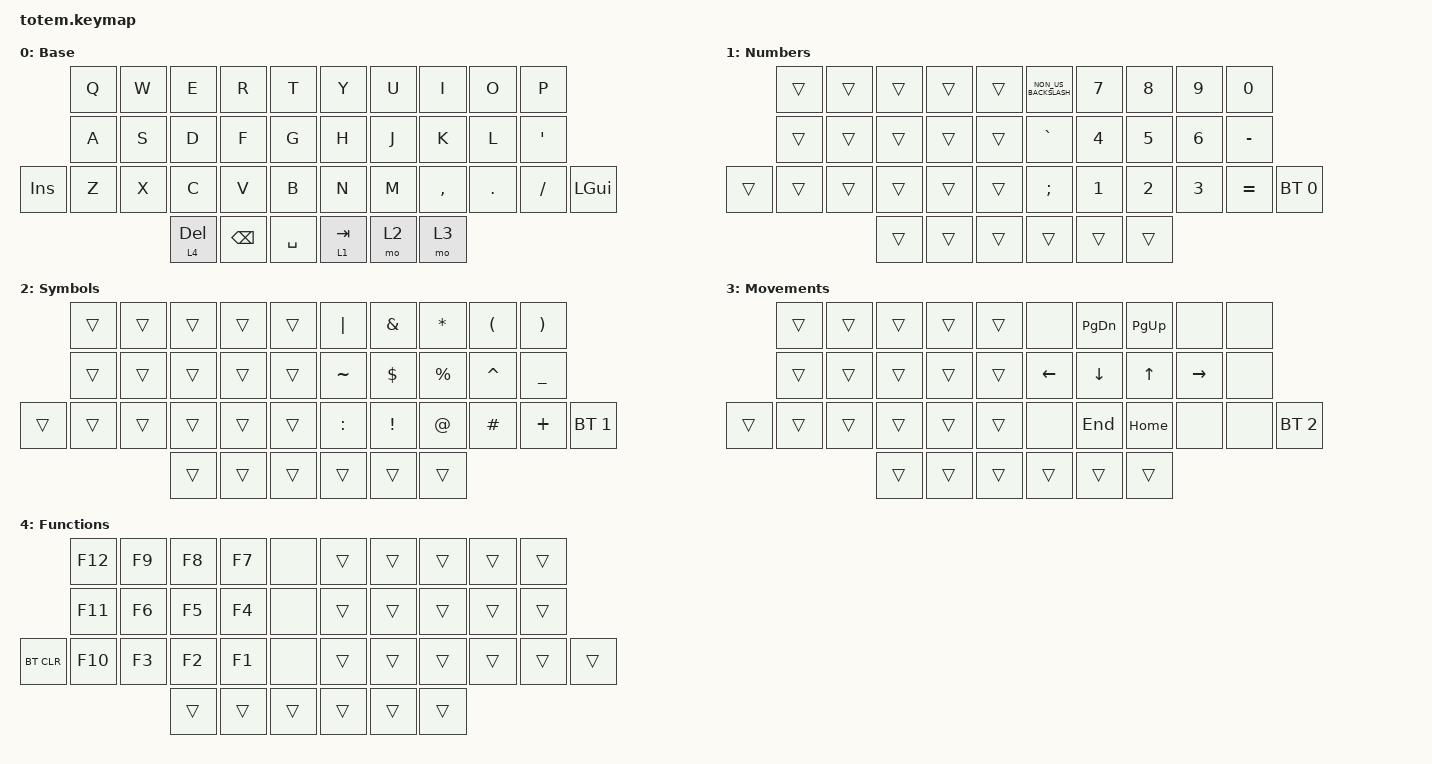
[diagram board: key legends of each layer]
//
//                                                        ▀▀▀▀▀     ▀▀▀▀▀          ▀▀█▀▀
//                                                        ▄▀▀▀▄  ▄  ▄▀▀▀▄  ▄  ▄▀▀▀▄  █  ▄▀▀▀▄
//                                                        █   █  █  █   █  █  █   █  █  █   █
//                                                         ▀▀▀   █   ▀▀▀   █   ▀▀▀   ▀   ▀▀▀
//                                                               █      ▄▄▄█▄▄▄    █   █  
//                                                               ▀      █  █  █     █▄█
//                                                             ▀▀▀▀▀    █  █  █      ▀
//                                                                      ▀  ▀  ▀
//
// ▄▄▄▄▄▄▄▄▄▄▄▄▄▄▄▄▄▄▄▄▄▄▄▄▄▄▄▄▄▄▄▄▄▄▄▄▄▄▄▄▄▄▄▄▄▄▄▄▄▄▄▄▄▄▄▄▄▄▄▄▄▄▄▄▄▄▄▄▄▄▄▄▄▄▄▄▄▄▄▄▄▄▄▄▄▄▄▄▄▄▄▄▄▄▄▄▄▄▄▄▄▄▄▄▄▄▄▄▄▄▄▄▄▄▄▄▄▄▄▄▄▄▄▄▄▄▄▄▄▄▄▄▄▄▄▄▄▄▄▄▄▄▄▄▄▄▄▄▄

#include <behaviors.dtsi>
#include <dt-bindings/zmk/bt.h>
#include <dt-bindings/zmk/keys.h>

#define BASE 0
#define NAV  1
#define SYM  2
#define ADJ  3
#define TVP1 4
#define TVP2 5

/ {
    combos {
        compatible = "zmk,combos";

        left_control {
            bindings = <&kp LEFT_CONTROL>;
            key-positions = <13 12>;
        };

        left_shift {
            bindings = <&kp LEFT_SHIFT>;
            key-positions = <12 11>;
        };

        left_control_shift {
            bindings = <&kp LS(LEFT_CONTROL)>;
            key-positions = <11 12 13>;
        };

        enter {
            bindings = <&kp ENTER>;
            key-positions = <2 3 1>;
        };

        right_control {
            bindings = <&kp LEFT_CONTROL>;
            key-positions = <16 17>;
        };

        right_shift {
            bindings = <&kp LEFT_SHIFT>;
            key-positions = <17 18>;
        };

        right_shift_control {
            bindings = <&kp LS(LEFT_CONTROL)>;
            key-positions = <16 17 18>;
        };

        esc {
            bindings = <&kp ESC>;
            key-positions = <6 7 8>;
        };

        left_bracket {
            bindings = <&kp LEFT_BRACKET>;
            key-positions = <27 28>;
        };

        right_bracket {
            bindings = <&kp RIGHT_BRACKET>;
            key-positions = <28 29>;
        };
    };

    keymap {
        compatible = "zmk,keymap";

        // ▄▄▄▄▄▄▄▄▄▄▄▄▄▄▄▄▄▄▄▄▄▄▄▄▄▄▄▄▄▄▄▄▄▄▄▄▄▄▄▄▄▄▄▄▄▄▄▄▄▄▄▄▄▄▄▄▄▄▄▄▄▄▄▄▄▄▄▄▄▄▄▄▄▄▄▄▄▄▄▄▄▄▄▄▄▄▄▄▄▄▄▄▄▄▄▄▄▄▄▄▄▄▄▄▄▄▄▄▄▄▄▄▄▄▄▄▄▄▄▄▄▄▄▄▄▄▄▄▄▄▄▄▄▄▄▄▄▄▄▄▄▄▄▄▄▄▄▄▄

        base_layer {
            // ┏━━━━━━━━━━━━━━━━━━━━━━━━━━━━━━━━━━━━━━━┓

            label = "Base";

            // ┗━━━━━━━━━━━━━━━━━━━━━━━━━━━━━━━━━━━━━━━┛
            //             ┏━━━━━━━━━━━┳━━━━━━━━━━━┳━━━━━━━━━━━┳━━━━━━━━━━━┳━━━━━━━━━━━┓   ┏━━━━━━━━━━━┳━━━━━━━━━━━┳━━━━━━━━━━━┳━━━━━━━━━━━┳━━━━━━━━━━━┓
            //             ┃     Q     ┃     W     ┃     F     ┃     P     ┃     G     ┃   ┃     J     ┃     L     ┃     U     ┃     Y     ┃     ;     ┃
            //             ┣━━━━━━━━━━━╋━━━━━━━━━━━╋━━━━━━━━━━━╋━━━━━━━━━━━╋━━━━━━━━━━━┫   ┣━━━━━━━━━━━╋━━━━━━━━━━━╋━━━━━━━━━━━╋━━━━━━━━━━━╋━━━━━━━━━━━┫
            //             ┃     A     ┃     R     ┃     S     ┃     T     ┃     D     ┃   ┃     H     ┃     N     ┃     E     ┃     I     ┃     O     ┃
            // ┏━━━━━━━━━━━╋━━━━━━━━━━━╋━━━━━━━━━━━╋━━━━━━━━━━━╋━━━━━━━━━━━╋━━━━━━━━━━━┫   ┣━━━━━━━━━━━╋━━━━━━━━━━━╋━━━━━━━━━━━╋━━━━━━━━━━━╋━━━━━━━━━━━╋━━━━━━━━━━━┓
            // ┃     Q     ┃     Z     ┃     X     ┃     C     ┃     V     ┃     B     ┃   ┃     K     ┃     M     ┃     ,     ┃     .     ┃     /     ┃     \     ┃
            // ┗━━━━━━━━━━━┻━━━━━━━━━━━┻━━━━━━━━━━━╋━━━━━━━━━━━╋━━━━━━━━━━━╋━━━━━━━━━━━┫   ┣━━━━━━━━━━━╋━━━━━━━━━━━╋━━━━━━━━━━━╋━━━━━━━━━━━┻━━━━━━━━━━━┻━━━━━━━━━━━┛
            //                                     ┃    DEL    ┃    TAB    ┃    SPC    ┃   ┃   ENTER   ┃           ┃   BSPC    ┃
            //                                     ┗━━━━━━━━━━━┻━━━━━━━━━━━┻━━━━━━━━━━━┛   ┗━━━━━━━━━━━┻━━━━━━━━━━━┻━━━━━━━━━━━┛

            bindings = <
         &kp Q  &kp W  &kp E      &kp R          &kp T        &kp Y      &kp U  &kp I      &kp O    &kp P
         &kp A  &kp S  &kp D      &kp F          &kp G        &kp H      &kp J  &kp K      &kp L    &kp SQT
&kp INS  &kp Z  &kp X  &kp C      &kp V          &kp B        &kp N      &kp M  &kp COMMA  &kp DOT  &kp FSLH  &kp LGUI
                       &lt 4 DEL  &kp BACKSPACE  &kp SPACE    &lt 1 TAB  &mo 2  &mo 3
            >;
        };

        // ▄▄▄▄▄▄▄▄▄▄▄▄▄▄▄▄▄▄▄▄▄▄▄▄▄▄▄▄▄▄▄▄▄▄▄▄▄▄▄▄▄▄▄▄▄▄▄▄▄▄▄▄▄▄▄▄▄▄▄▄▄▄▄▄▄▄▄▄▄▄▄▄▄▄▄▄▄▄▄▄▄▄▄▄▄▄▄▄▄▄▄▄▄▄▄▄▄▄▄▄▄▄▄▄▄▄▄▄▄▄▄▄▄▄▄▄▄▄▄▄▄▄▄▄▄▄▄▄▄▄▄▄▄▄▄▄▄▄▄▄▄▄▄▄▄▄▄▄▄

        numbers_layer {
            // ┏━━━━━━━━━━━━━━━━━━━━━━━━━━━━━━━━━━━━━━━┓

            label = "Numbers";

            // ┗━━━━━━━━━━━━━━━━━━━━━━━━━━━━━━━━━━━━━━━┛
            //             ┏━━━━━━━━━━━┳━━━━━━━━━━━┳━━━━━━━━━━━┳━━━━━━━━━━━┳━━━━━━━━━━━┓   ┏━━━━━━━━━━━┳━━━━━━━━━━━┳━━━━━━━━━━━┳━━━━━━━━━━━┳━━━━━━━━━━━┓
            //             ┃           ┃           ┃     UP    ┃           ┃     {     ┃   ┃     }     ┃     7     ┃     8     ┃     9     ┃     +     ┃
            //             ┣━━━━━━━━━━━╋━━━━━━━━━━━╋━━━━━━━━━━━╋━━━━━━━━━━━╋━━━━━━━━━━━┫   ┣━━━━━━━━━━━╋━━━━━━━━━━━╋━━━━━━━━━━━╋━━━━━━━━━━━╋━━━━━━━━━━━┫
            //             ┃   SHIFT   ┃   LEFT    ┃    DOWN   ┃   RIGHT   ┃     [     ┃   ┃     ]     ┃     4     ┃     5     ┃     6     ┃     -     ┃
            // ┏━━━━━━━━━━━╋━━━━━━━━━━━╋━━━━━━━━━━━╋━━━━━━━━━━━╋━━━━━━━━━━━╋━━━━━━━━━━━┫   ┣━━━━━━━━━━━╋━━━━━━━━━━━╋━━━━━━━━━━━╋━━━━━━━━━━━╋━━━━━━━━━━━╋━━━━━━━━━━━┓
            // ┃           ┃           ┃   P UP    ┃  C LOCK   ┃  P DOWN   ┃     (     ┃   ┃     )     ┃     1     ┃     2     ┃     3     ┃     *     ┃           ┃
            // ┗━━━━━━━━━━━┻━━━━━━━━━━━┻━━━━━━━━━━━╋━━━━━━━━━━━╋━━━━━━━━━━━╋━━━━━━━━━━━┫   ┣━━━━━━━━━━━╋━━━━━━━━━━━╋━━━━━━━━━━━╋━━━━━━━━━━━┻━━━━━━━━━━━┻━━━━━━━━━━━┛
            //                                     ┃           ┃    TAB    ┃    SPC    ┃   ┃    DEL    ┃     0     ┃           ┃
            //                                     ┗━━━━━━━━━━━┻━━━━━━━━━━━┻━━━━━━━━━━━┛   ┗━━━━━━━━━━━┻━━━━━━━━━━━┻━━━━━━━━━━━┛

            bindings = <
        &trans  &trans  &trans  &trans  &trans    &kp NON_US_BACKSLASH  &kp N7        &kp N8        &kp N9        &kp N0
        &trans  &trans  &trans  &trans  &trans    &kp GRAVE             &kp NUMBER_4  &kp N5        &kp NUMBER_6  &kp MINUS
&trans  &trans  &trans  &trans  &trans  &trans    &kp SEMICOLON         &kp NUMBER_1  &kp NUMBER_2  &kp NUMBER_3  &kp EQUAL  &bt BT_SEL 0
                        &trans  &trans  &trans    &trans                &trans        &trans
            >;
        };

        // ▄▄▄▄▄▄▄▄▄▄▄▄▄▄▄▄▄▄▄▄▄▄▄▄▄▄▄▄▄▄▄▄▄▄▄▄▄▄▄▄▄▄▄▄▄▄▄▄▄▄▄▄▄▄▄▄▄▄▄▄▄▄▄▄▄▄▄▄▄▄▄▄▄▄▄▄▄▄▄▄▄▄▄▄▄▄▄▄▄▄▄▄▄▄▄▄▄▄▄▄▄▄▄▄▄▄▄▄▄▄▄▄▄▄▄▄▄▄▄▄▄▄▄▄▄▄▄▄▄▄▄▄▄▄▄▄▄▄▄▄▄▄▄▄▄▄▄▄▄

        symbols_layer {
            // ┏━━━━━━━━━━━━━━━━━━━━━━━━━━━━━━━━━━━━━━━┓

            label = "Symbols";

            // ┗━━━━━━━━━━━━━━━━━━━━━━━━━━━━━━━━━━━━━━━┛
            //             ┏━━━━━━━━━━━┳━━━━━━━━━━━┳━━━━━━━━━━━┳━━━━━━━━━━━┳━━━━━━━━━━━┓   ┏━━━━━━━━━━━┳━━━━━━━━━━━┳━━━━━━━━━━━┳━━━━━━━━━━━┳━━━━━━━━━━━┓
            //             ┃     !     ┃     @     ┃     #     ┃     $     ┃     %     ┃   ┃     ˆ     ┃     &     ┃     Ü     ┃     '     ┃     "     ┃
            //             ┣━━━━━━━━━━━╋━━━━━━━━━━━╋━━━━━━━━━━━╋━━━━━━━━━━━╋━━━━━━━━━━━┫   ┣━━━━━━━━━━━╋━━━━━━━━━━━╋━━━━━━━━━━━╋━━━━━━━━━━━╋━━━━━━━━━━━┫
            //             ┃     Ä     ┃           ┃    SZ     ┃           ┃           ┃   ┃   MUTE    ┃   YEN     ┃   EURO    ┃  POUND    ┃     Ö     ┃
            // ┏━━━━━━━━━━━╋━━━━━━━━━━━╋━━━━━━━━━━━╋━━━━━━━━━━━╋━━━━━━━━━━━╋━━━━━━━━━━━┫   ┣━━━━━━━━━━━╋━━━━━━━━━━━╋━━━━━━━━━━━╋━━━━━━━━━━━╋━━━━━━━━━━━╋━━━━━━━━━━━┓
            // ┃           ┃  EMAIL1   ┃  EMAIL2   ┃           ┃           ┃           ┃   ┃   VOL-    ┃   VOL+    ┃   LAST    ┃   NEXT    ┃     \     ┃           ┃
            // ┗━━━━━━━━━━━┻━━━━━━━━━━━┻━━━━━━━━━━━╋━━━━━━━━━━━╋━━━━━━━━━━━╋━━━━━━━━━━━┫   ┣━━━━━━━━━━━╋━━━━━━━━━━━╋━━━━━━━━━━━╋━━━━━━━━━━━┻━━━━━━━━━━━┻━━━━━━━━━━━┛
            //                                     ┃           ┃    GIF    ┃    ADJ    ┃   ┃           ┃           ┃           ┃
            //                                     ┗━━━━━━━━━━━┻━━━━━━━━━━━┻━━━━━━━━━━━┛   ┗━━━━━━━━━━━┻━━━━━━━━━━━┻━━━━━━━━━━━┛

            bindings = <
        &trans  &trans  &trans  &trans  &trans    &kp PIPE   &kp AMPERSAND    &kp ASTERISK  &kp LEFT_PARENTHESIS  &kp RIGHT_PARENTHESIS
        &trans  &trans  &trans  &trans  &trans    &kp TILDE  &kp DOLLAR       &kp PERCENT   &kp CARET             &kp UNDERSCORE
&trans  &trans  &trans  &trans  &trans  &trans    &kp COLON  &kp EXCLAMATION  &kp AT_SIGN   &kp HASH              &kp PLUS               &bt BT_SEL 1
                        &trans  &trans  &trans    &trans     &trans           &trans
            >;
        };

        // ▄▄▄▄▄▄▄▄▄▄▄▄▄▄▄▄▄▄▄▄▄▄▄▄▄▄▄▄▄▄▄▄▄▄▄▄▄▄▄▄▄▄▄▄▄▄▄▄▄▄▄▄▄▄▄▄▄▄▄▄▄▄▄▄▄▄▄▄▄▄▄▄▄▄▄▄▄▄▄▄▄▄▄▄▄▄▄▄▄▄▄▄▄▄▄▄▄▄▄▄▄▄▄▄▄▄▄▄▄▄▄▄▄▄▄▄▄▄▄▄▄▄▄▄▄▄▄▄▄▄▄▄▄▄▄▄▄▄▄▄▄▄▄▄▄▄▄▄▄

        movements_layer {
            // ┏━━━━━━━━━━━━━━━━━━━━━━━━━━━━━━━━━━━━━━━┓

            label = "Movements";

            // ┗━━━━━━━━━━━━━━━━━━━━━━━━━━━━━━━━━━━━━━━┛
            //             ┏━━━━━━━━━━━┳━━━━━━━━━━━┳━━━━━━━━━━━┳━━━━━━━━━━━┳━━━━━━━━━━━┓   ┏━━━━━━━━━━━┳━━━━━━━━━━━┳━━━━━━━━━━━┳━━━━━━━━━━━┳━━━━━━━━━━━┓
            //             ┃   RESET   ┃ BT CLEAR  ┃  OUT TOG  ┃           ┃           ┃   ┃           ┃    F7     ┃    F8     ┃    F9     ┃    F12    ┃
            //             ┣━━━━━━━━━━━╋━━━━━━━━━━━╋━━━━━━━━━━━╋━━━━━━━━━━━╋━━━━━━━━━━━┫   ┣━━━━━━━━━━━╋━━━━━━━━━━━╋━━━━━━━━━━━╋━━━━━━━━━━━╋━━━━━━━━━━━┫
            //             ┃ BOOTLOAD  ┃ BT NEXT   ┃           ┃           ┃           ┃   ┃           ┃    F4     ┃    F5     ┃    F6     ┃    F11    ┃
            // ┏━━━━━━━━━━━╋━━━━━━━━━━━╋━━━━━━━━━━━╋━━━━━━━━━━━╋━━━━━━━━━━━╋━━━━━━━━━━━┫   ┣━━━━━━━━━━━╋━━━━━━━━━━━╋━━━━━━━━━━━╋━━━━━━━━━━━╋━━━━━━━━━━━╋━━━━━━━━━━━┓
            // ┃           ┃           ┃ BT PREV   ┃           ┃           ┃           ┃   ┃           ┃    F1     ┃    F2     ┃    F3     ┃    F10    ┃           ┃
            // ┗━━━━━━━━━━━┻━━━━━━━━━━━┻━━━━━━━━━━━╋━━━━━━━━━━━╋━━━━━━━━━━━╋━━━━━━━━━━━┫   ┣━━━━━━━━━━━╋━━━━━━━━━━━╋━━━━━━━━━━━╋━━━━━━━━━━━┻━━━━━━━━━━━┻━━━━━━━━━━━┛
            //                                     ┃           ┃           ┃           ┃   ┃           ┃           ┃           ┃
            //                                     ┗━━━━━━━━━━━┻━━━━━━━━━━━┻━━━━━━━━━━━┛   ┗━━━━━━━━━━━┻━━━━━━━━━━━┻━━━━━━━━━━━┛

            bindings = <
        &trans  &trans  &trans  &trans  &trans    &none     &kp PAGE_DOWN   &kp PG_UP     &none      &none
        &trans  &trans  &trans  &trans  &trans    &kp LEFT  &kp DOWN_ARROW  &kp UP_ARROW  &kp RIGHT  &none
&trans  &trans  &trans  &trans  &trans  &trans    &none     &kp END         &kp HOME      &none      &none  &bt BT_SEL 2
                        &trans  &trans  &trans    &trans    &trans          &trans
            >;
        };

        // ▄▄▄▄▄▄▄▄▄▄▄▄▄▄▄▄▄▄▄▄▄▄▄▄▄▄▄▄▄▄▄▄▄▄▄▄▄▄▄▄▄▄▄▄▄▄▄▄▄▄▄▄▄▄▄▄▄▄▄▄▄▄▄▄▄▄▄▄▄▄▄▄▄▄▄▄▄▄▄▄▄▄▄▄▄▄▄▄▄▄▄▄▄▄▄▄▄▄▄▄▄▄▄▄▄▄▄▄▄▄▄▄▄▄▄▄▄▄▄▄▄▄▄▄▄▄▄▄▄▄▄▄▄▄▄▄▄▄▄▄▄▄▄▄▄▄▄▄▄

        functions_layer {
            // ┏━━━━━━━━━━━━━━━━━━━━━━━━━━━━━━━━━━━━━━━┓

            label = "Functions";

            // ┗━━━━━━━━━━━━━━━━━━━━━━━━━━━━━━━━━━━━━━━┛
            //             ┏━━━━━━━━━━━┳━━━━━━━━━━━┳━━━━━━━━━━━┳━━━━━━━━━━━┳━━━━━━━━━━━┓   ┏━━━━━━━━━━━┳━━━━━━━━━━━┳━━━━━━━━━━━┳━━━━━━━━━━━┳━━━━━━━━━━━┓
            //             ┃ NEXT FILE ┃ MARK IN   ┃ ROTATE    ┃ MARK OUT  ┃ SHOW SNAP ┃   ┃           ┃           ┃           ┃           ┃           ┃
            //             ┣━━━━━━━━━━━╋━━━━━━━━━━━╋━━━━━━━━━━━╋━━━━━━━━━━━╋━━━━━━━━━━━┫   ┣━━━━━━━━━━━╋━━━━━━━━━━━╋━━━━━━━━━━━╋━━━━━━━━━━━╋━━━━━━━━━━━┫
            //             ┃ TVP II    ┃ LEFT      ┃ PAN       ┃ RIGHT     ┃ PLAY/FLIP ┃   ┃           ┃           ┃           ┃           ┃           ┃
            // ┏━━━━━━━━━━━╋━━━━━━━━━━━╋━━━━━━━━━━━╋━━━━━━━━━━━╋━━━━━━━━━━━╋━━━━━━━━━━━┫   ┣━━━━━━━━━━━╋━━━━━━━━━━━╋━━━━━━━━━━━╋━━━━━━━━━━━╋━━━━━━━━━━━╋━━━━━━━━━━━┓
            // ┃ FULLSCR   ┃ SHIFT     ┃ COPY      ┃ DELETE    ┃ PASTE     ┃ IMG MARK  ┃   ┃           ┃           ┃           ┃           ┃           ┃           ┃
            // ┗━━━━━━━━━━━┻━━━━━━━━━━━┻━━━━━━━━━━━╋━━━━━━━━━━━╋━━━━━━━━━━━╋━━━━━━━━━━━┫   ┣━━━━━━━━━━━╋━━━━━━━━━━━╋━━━━━━━━━━━╋━━━━━━━━━━━┻━━━━━━━━━━━┻━━━━━━━━━━━┛
            //                                     ┃           ┃ UNDO/SAVE ┃  SEL/MOV  ┃   ┃           ┃           ┃           ┃
            //                                     ┗━━━━━━━━━━━┻━━━━━━━━━━━┻━━━━━━━━━━━┛   ┗━━━━━━━━━━━┻━━━━━━━━━━━┻━━━━━━━━━━━┛

            bindings = <
            &kp F12  &kp F9  &kp F8  &kp F7  &none     &trans  &trans  &trans  &trans  &trans
            &kp F11  &kp F6  &kp F5  &kp F4  &none     &trans  &trans  &trans  &trans  &trans
&bt BT_CLR  &kp F10  &kp F3  &kp F2  &kp F1  &none     &trans  &trans  &trans  &trans  &trans  &trans
                             &trans  &trans  &trans    &trans  &trans  &trans
            >;
        };

        // ▄▄▄▄▄▄▄▄▄▄▄▄▄▄▄▄▄▄▄▄▄▄▄▄▄▄▄▄▄▄▄▄▄▄▄▄▄▄▄▄▄▄▄▄▄▄▄▄▄▄▄▄▄▄▄▄▄▄▄▄▄▄▄▄▄▄▄▄▄▄▄▄▄▄▄▄▄▄▄▄▄▄▄▄▄▄▄▄▄▄▄▄▄▄▄▄▄▄▄▄▄▄▄▄▄▄▄▄▄▄▄▄▄▄▄▄▄▄▄▄▄▄▄▄▄▄▄▄▄▄▄▄▄▄▄▄▄▄▄▄▄▄▄▄▄▄▄▄▄
    };
};
